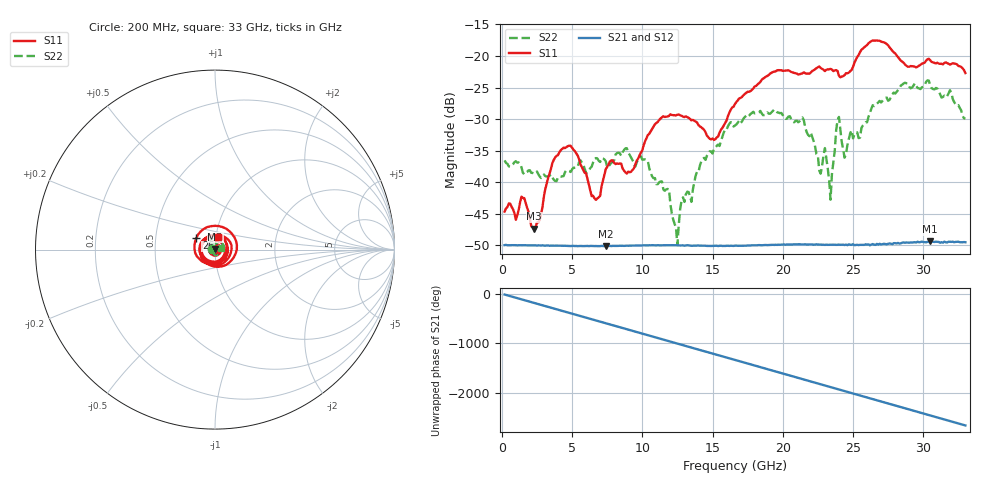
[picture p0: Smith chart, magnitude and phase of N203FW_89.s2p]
# GHZ S RI R 50
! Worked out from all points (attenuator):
!   329 points, 200 MHz to 33 GHz, reference 50 ohm
!   highest |S21| = -49.38 dB at 30.5 GHz (marker M1); lowest = -50.1 dB at 7.4 GHz (marker M2)
!   lowest |S11| = -47.3 dB at 2.3 GHz (marker M3), VSWR 1.01, Z = 50.1 + j0.412 ohm
!   |S11| at or under -10 dB: start of sweep to end of sweep
!   |S22| runs from -49.9 to -23.9 dB; largest |S21 - S12| = 8.8e-05
!   S11 on the Smith chart (normalised r, x): 200 MHz: 1.01, +0.00; 26 GHz: 0.81, +0.10; 33 GHz: 1.03, +0.15
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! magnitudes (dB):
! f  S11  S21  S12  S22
! 200 MHz  -44.6  -50.0  -49.9  -36.5
! 2.3 GHz  -47.3  -50.0  -50.0  -38.6
! 3.8 GHz  -36.1  -50.0  -50.0  -39.8
! 5.7 GHz  -37.6  -50.1  -50.1  -36.9
! 6.7 GHz  -42.8  -50.1  -50.1  -36.2
! 7.4 GHz  -37.9  -50.1  -50.1  -36.7
! 11.2 GHz  -30.1  -50.0  -50.0  -40.0
! 11.9 GHz  -29.5  -50.0  -50.0  -41.1
! 12.5 GHz  -29.3  -50.0  -50.0  -49.9
! 12.9 GHz  -29.6  -50.0  -50.0  -42.4
! 15.1 GHz  -33.3  -50.1  -50.1  -34.7
! 16.6 GHz  -27.6  -50.0  -50.1  -31.0
! 22.1 GHz  -22.4  -49.9  -49.8  -32.8
! 22.7 GHz  -21.9  -49.9  -49.8  -38.6
! 23 GHz  -22.4  -49.9  -49.9  -34.6
! 23.4 GHz  -22.0  -49.9  -49.9  -42.8
! 24 GHz  -23.1  -49.9  -49.9  -29.6
! 24.4 GHz  -23.0  -49.9  -49.8  -36.1
! 26 GHz  -18.3  -49.9  -49.8  -30.5
! 27.6 GHz  -18.6  -49.7  -49.7  -27.0
! 30.5 GHz  -20.7  -49.4  -49.5  -24.7
! 33 GHz  -22.7  -49.5  -49.5  -29.9
